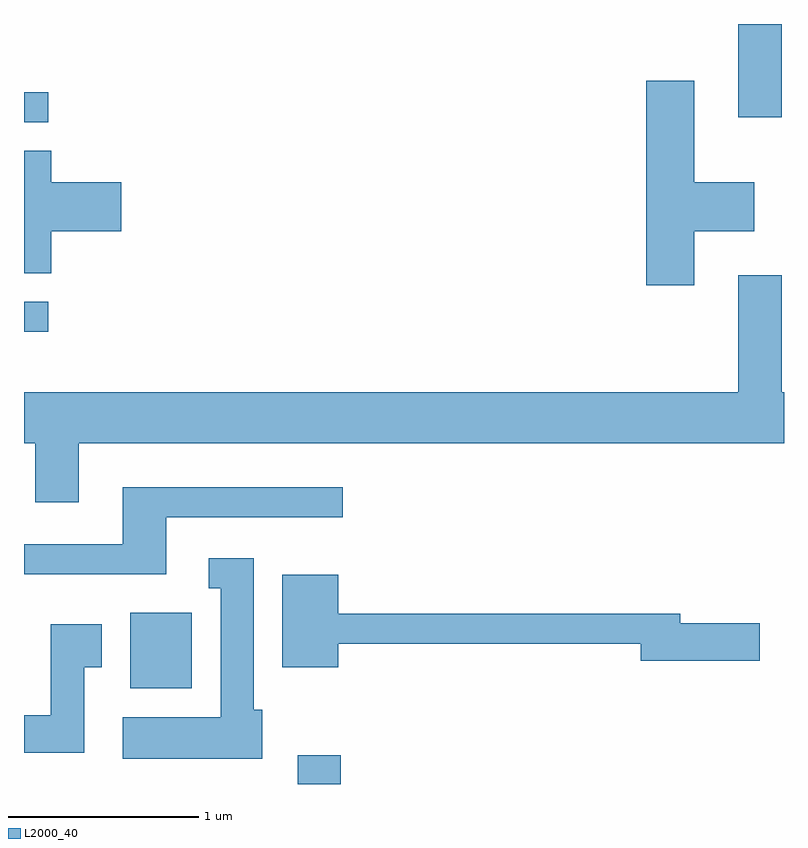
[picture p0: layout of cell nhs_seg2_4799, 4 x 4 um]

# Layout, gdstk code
import gdstk
lib = gdstk.Library(unit=1e-6, precision=1e-09)
def R(c, l, rs):  # rectangles x0, y0, x1, y1
    for r in rs: c.add(gdstk.rectangle(r[:2], r[2:], *l))
def P(c, l, *ps):  # polygons
    for p in ps: c.add(gdstk.Polygon(p, *l))
L2000_40 = (2000, 40)

nhs_seg2_4799 = lib.new_cell('nhs_seg2_4799')
R(nhs_seg2_4799, L2000_40, [(327.051,1099.802,327.279,1099.954), (326.171,1100.306,326.494,1100.704), (325.611,1102.181,325.738,1102.339), (325.611,1103.286,325.738,1103.444), (329.371,1103.311,329.599,1103.802)])
P(nhs_seg2_4799, L2000_40, [(329.139,1102.711),(329.454,1102.711),(329.454,1102.969),(329.139,1102.969),(329.139,1103.504),(328.886,1103.504),(328.886,1102.426),(329.139,1102.426)],
  [(325.754,1102.711),(326.124,1102.711),(326.124,1102.969),(325.754,1102.969),(325.754,1103.134),(325.611,1103.134),(325.611,1102.491),(325.754,1102.491)],
  [(325.899,1101.596),(329.611,1101.596),(329.611,1101.864),(329.599,1101.864),(329.599,1102.479),(329.371,1102.479),(329.371,1101.864),(325.611,1101.864),(325.611,1101.596),(325.671,1101.596),(325.671,1101.286),(325.899,1101.286)],
  [(326.359,1101.206),(327.288,1101.206),(327.288,1101.364),(326.131,1101.364),(326.131,1101.064),(325.611,1101.064),(325.611,1100.906),(326.359,1100.906)],
  [(326.864,1100.194),(326.819,1100.194),(326.819,1100.989),(326.583,1100.989),(326.583,1100.831),(326.646,1100.831),(326.646,1100.154),(326.131,1100.154),(326.131,1099.936),(326.864,1099.936)],
  [(327.264,1100.541),(328.856,1100.541),(328.856,1100.451),(329.484,1100.451),(329.484,1100.649),(329.064,1100.649),(329.064,1100.699),(327.264,1100.699),(327.264,1100.904),(326.971,1100.904),(326.971,1100.416),(327.264,1100.416)],
  [(325.929,1100.416),(326.019,1100.416),(326.019,1100.644),(325.751,1100.644),(325.751,1100.164),(325.611,1100.164),(325.611,1099.966),(325.929,1099.966)])

lib.write_gds('nhs_seg2_4799.gds')
